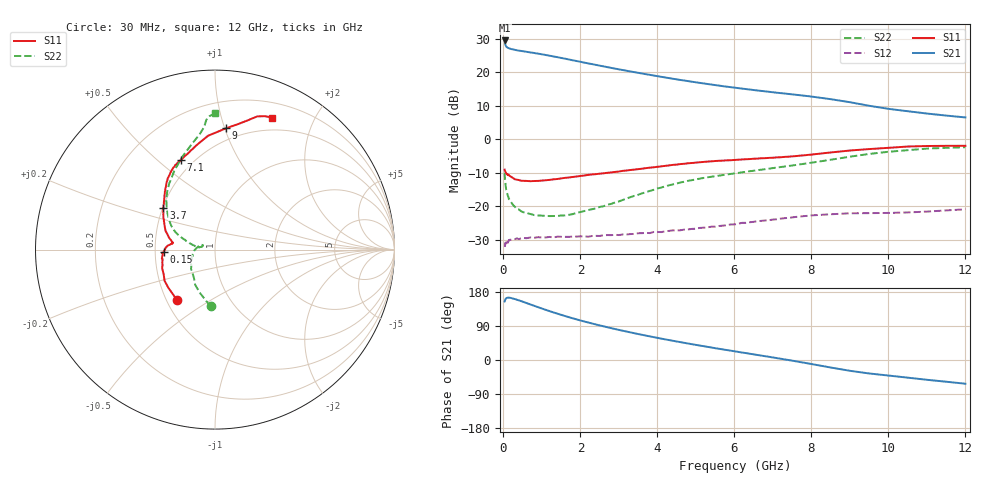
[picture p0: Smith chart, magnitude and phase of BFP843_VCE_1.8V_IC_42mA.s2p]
! Infineon Technologies  Discrete & RF Semiconductors
! BFP843
! VCE =  1.8 V,  IC =  42 mA
! Common Emitter S-Parameters:  Aug 2013
# GHz  S  MA  R  50
!  f  S11  S21  S12  S22
! GHz  MAG  ANG  MAG  ANG  MAG  ANG  MAG  ANG
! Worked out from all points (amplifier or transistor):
!   103 points, 30 MHz to 12 GHz, reference 50 ohm
!   highest |S21| = 29.5 dB at 30 MHz (marker M1)
!   |S21| within 3 dB of that: start of sweep to 379.9 MHz
!   unconditionally stable (mu >= 1): 69.67 MHz to 73.36 MHz; 80.42 MHz to 10.36 GHz
!   at 400 MHz: K = 1.05, MAG = 26.8 dB, |S12| = -29.8 dB
!   at 3.7 GHz: K = 1.35, MAG = 20.1 dB, |S12| = -27.9 dB
!   at 12 GHz: K = 0.84, MSG = 13.7 dB, |S12| = -20.9 dB
!   S11 on the Smith chart (normalised r, x): 30 MHz: 0.57, -0.37; 150 MHz: 0.55, -0.02; 3.7 GHz: 0.50, +0.27; 7.1 GHz: 0.43, +0.60; 9 GHz: 0.40, +1.01; 12 GHz: 0.36, +1.46
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0.03  0.3525 -126.7  29.79 154.5  0.0263 26.2  0.3172 -94.5
0.04  0.3358 -140.7  27.14 156.9  0.0254 18.0  0.256 -109.1
0.05  0.3304 -148.3  25.8 160.1  0.0285 12.8  0.2249 -119.5
0.07  0.3123 -160.7  24.18 162.7  0.0282 11.0  0.1783 -135.4
0.1  0.2964 -169.6  23.39 164.3  0.0305 12.1  0.153 -152.2
0.15  0.2866 -176.9  22.73 164.4  0.0315 9.3  0.1276 -167.6
0.2  0.2752 177.9  22.18 163.6  0.0318 10.0  0.1149 -177.7
0.8  0.2383 171.0  19.35 143.0  0.0339 6.3  0.0738 160.4
1.1  0.2445 169.2  18.07 132.3  0.0343 7.0  0.0719 161.0
1.6  0.2656 165.3  15.93 116.0  0.035 7.4  0.0731 167.0
2.1  0.2881 160.3  13.92 101.6  0.0355 9.4  0.0848 170.5
2.5  0.3065 155.8  12.54 91.3  0.0361 10.9  0.0976 171.6
2.9  0.3255 151.0  11.32 81.7  0.0375 11.8  0.1142 169.7
3.7  0.3706 140.8  9.35 64.4  0.0401 15.3  0.1619 163.9
4.1  0.394 136.0  8.541 56.4  0.0412 14.8  0.1906 160.7
5  0.4483 127.5  7.078 39.9  0.0463 17.6  0.2522 154.7
6.1  0.495 120.2  5.79 21.4  0.055 16.8  0.3149 145.4
7.1  0.5361 110.8  4.949 5.0  0.064 13.1  0.3781 135.7
8.5  0.6355 93.5  3.964 -19.8  0.076 2.6  0.4942 117.3
9  0.6792 84.7  3.571 -28.5  0.0786 -1.6  0.5497 109.2
10.5  0.7786 72.4  2.62 -46.6  0.0809 -9.8  0.6874 95.0
12  0.7984 66.5  2.117 -62.6  0.0901 -16.9  0.7587 89.9
